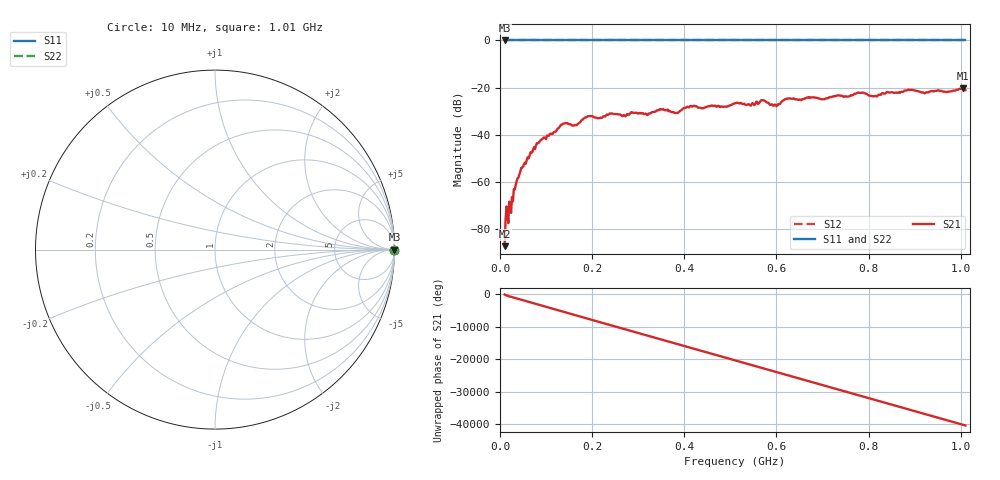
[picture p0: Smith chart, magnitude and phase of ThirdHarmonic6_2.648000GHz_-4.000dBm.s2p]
! 8/17/2025 6:01:25 AM
! C:\ANRITSUVNA\TEMP\TEMP.S2P
! CHANNEL.1
! TR.MEASUREMENT
! RAW.DATA
! RF.CORRECTION.OFF
! AVERAGING.OFF
! IF.BANDWIDTH: 5KHZ
! SWEEPTYPE:  FREQ.SWEEP(Linear)
! Reference Plane Port Info
! PORT:  PORT1  PORT2
! DISTANCE:  0  m  0  m
! TIME:  0  s  0  s
! PHASE.OFFSET:  0  deg.  0  deg.
! LOSS:  0  dB  0  dB
! REF.LOSS:  0  dB  0  dB
! REF.FREQ:  0  Hz  0  Hz
! Power Info
! POWER:  -20  dBm  -20  dBm
! EFF.POWER:  -20  dBm  -20  dBm
! SOURCE.ATTEN:  0  dB  0  dB
! TEST.ATTEN:  0  dB  0  dB
# GHZ S RI R 50.0
! FREQ.GHZ  S11RE  S11IM  S21RE  S21IM  S12RE  S12IM  S22RE  S22IM
!; PortSelection: Port_12
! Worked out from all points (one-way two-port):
!   501 points, 10 MHz to 1.01 GHz, reference 50 ohm
!   highest |S21| = -20.38 dB at 1.004 GHz (marker M1); lowest = -87.4 dB at 10 MHz (marker M2)
!   lowest |S11| = 0.0 dB at 10 MHz (marker M3)
!   |S11| at or under -10 dB: nowhere
!   |S22| runs from 0.0 to 0.0 dB; largest |S21 - S12| = 1.1
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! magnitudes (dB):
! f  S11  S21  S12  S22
! 10 MHz  0.0  -87.4  0.0  0.0
! 18 MHz  0.0  -77.6  0.0  0.0
! 20 MHz  0.0  -68.5  0.0  0.0
! 42 MHz  0.0  -56.9  0.0  0.0
! 76 MHz  0.0  -46.2  0.0  0.0
! 136 MHz  0.0  -35.5  0.0  0.0
! 162 MHz  0.0  -36.0  0.0  0.0
! 178 MHz  0.0  -33.7  0.0  0.0
! 344 MHz  0.0  -29.7  0.0  0.0
! 382 MHz  0.0  -30.8  0.0  0.0
! 416 MHz  0.0  -28.1  0.0  0.0
! 510 MHz  0.0  -26.7  0.0  0.0
! 548 MHz  0.0  -26.6  0.0  0.0
! 570 MHz  0.0  -25.3  0.0  0.0
! 598 MHz  0.0  -27.4  0.0  0.0
! 622 MHz  0.0  -24.9  0.0  0.0
! 678 MHz  0.0  -24.2  0.0  0.0
! 782 MHz  0.0  -22.2  0.0  0.0
! 814 MHz  0.0  -23.5  0.0  0.0
! 844 MHz  0.0  -22.1  0.0  0.0
! 1.004 GHz  0.0  -20.4  0.0  0.0
! 1.01 GHz  0.0  -21.2  0.0  0.0
